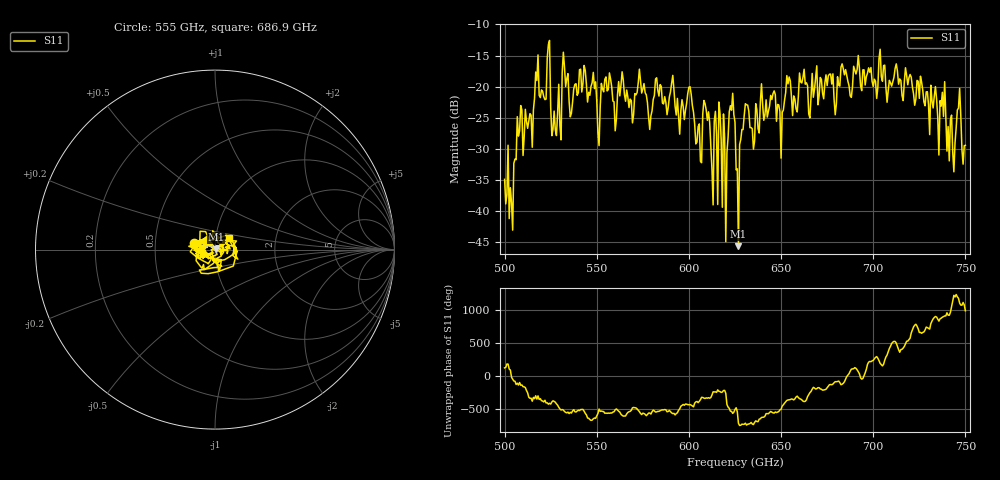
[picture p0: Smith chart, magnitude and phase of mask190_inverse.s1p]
!Created with skrf (http://scikit-rf.org).
# GHz S MA R 50.0
!freq magS11 angS11
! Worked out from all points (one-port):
!   401 points, 500 GHz to 750 GHz, reference 50 ohm
!   lowest |S11| = -45.7 dB at 626.9 GHz (marker M1), VSWR 1.01, Z = 50.5 + j0.0722 ohm
!   |S11| at or under -10 dB: start of sweep to end of sweep
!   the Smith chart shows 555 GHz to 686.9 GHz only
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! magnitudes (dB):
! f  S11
! 500 GHz  -34.9
! 503.8 GHz  -38.7
! 508.1 GHz  -27.1
! 513.8 GHz  -24.4
! 517.5 GHz  -19.0
! 523.8 GHz  -13.2
! 526.9 GHz  -23.9
! 531.2 GHz  -17.7
! 562.5 GHz  -21.5
! 593.8 GHz  -21.9
! 600.6 GHz  -20.0
! 605.6 GHz  -26.0
! 609.4 GHz  -23.7
! 611.9 GHz  -29.6
! 617.5 GHz  -28.6
! 619.4 GHz  -28.3
! 623.1 GHz  -23.8
! 625 GHz  -25.7
! 626.9 GHz  -45.7
! 631.2 GHz  -22.9
! 634.4 GHz  -26.8
! 656.2 GHz  -24.7
! 687.5 GHz  -21.5
! 718.8 GHz  -19.7
! 737.5 GHz  -20.9
! 742.5 GHz  -24.6
! 746.2 GHz  -23.5
! 750 GHz  -29.5
